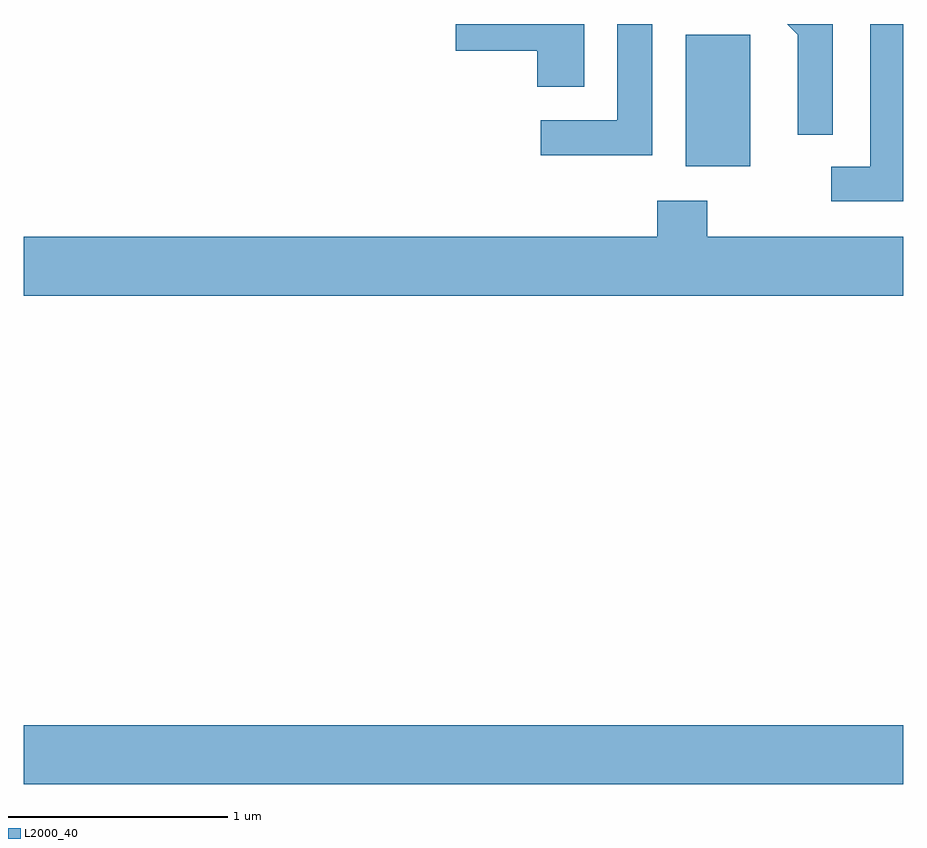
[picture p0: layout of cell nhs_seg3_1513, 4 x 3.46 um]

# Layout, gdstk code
import gdstk
lib = gdstk.Library(unit=1e-6, precision=1e-09)
def R(c, l, rs):  # rectangles x0, y0, x1, y1
    for r in rs: c.add(gdstk.rectangle(r[:2], r[2:], *l))
def P(c, l, *ps):  # polygons
    for p in ps: c.add(gdstk.Polygon(p, *l))
L2000_40 = (2000, 40)

nhs_seg3_1513 = lib.new_cell('nhs_seg3_1513')
R(nhs_seg3_1513, L2000_40, [(229.611,1150.436,233.611,1150.704), (232.621,1153.246,232.914,1153.844)])
P(nhs_seg3_1513, L2000_40, [(232.159,1153.892),(231.576,1153.892),(231.576,1153.771),(231.946,1153.771),(231.946,1153.606),(232.159,1153.606)],
  [(233.611,1153.892),(233.461,1153.892),(233.461,1153.244),(233.283,1153.244),(233.283,1153.086),(233.611,1153.086)],
  [(232.469,1153.892),(232.311,1153.892),(232.311,1153.454),(231.963,1153.454),(231.963,1153.296),(232.469,1153.296)],
  [(233.289,1153.892),(233.083,1153.892),(233.131,1153.844),(233.131,1153.388),(233.289,1153.388)],
  [(233.611,1152.924),(232.719,1152.924),(232.719,1153.089),(232.491,1153.089),(232.491,1152.924),(229.611,1152.924),(229.611,1152.656),(233.611,1152.656)])

lib.write_gds('nhs_seg3_1513.gds')
